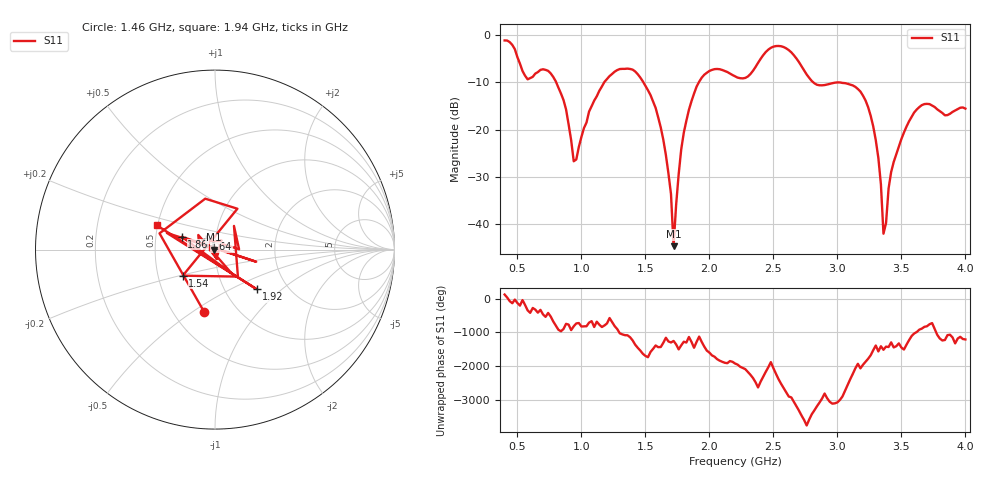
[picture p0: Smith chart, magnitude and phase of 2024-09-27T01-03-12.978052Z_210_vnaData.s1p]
!Created with skrf (http://scikit-rf.org).
# Hz S RI R 50.0
!freq ReS11 ImS11
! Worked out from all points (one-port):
!   181 points, 400 MHz to 4 GHz, reference 50 ohm
!   lowest |S11| = -44.6 dB at 1.72 GHz (marker M1), VSWR 1.01, Z = 49.4 - j0.0715 ohm
!   |S11| at or under -10 dB: 802.5 MHz to 1.179 GHz (376.6 MHz wide, 38 % of centre); 1.483 GHz to 1.918 GHz (434.9 MHz wide, 25.6 % of centre); 2.81 GHz to end of sweep
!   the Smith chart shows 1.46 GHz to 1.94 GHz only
!   S11 on the Smith chart (normalised r, x): 1.46 GHz: 0.70, -0.56; 1.54 GHz: 0.67, -0.21; 1.64 GHz: 0.89, +0.10; 1.86 GHz: 0.68, +0.10; 1.92 GHz: 1.40, -0.69; 1.94 GHz: 0.49, +0.15
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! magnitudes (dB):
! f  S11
! 400 MHz  -1.2
! 580 MHz  -9.4
! 740 MHz  -7.6
! 860 MHz  -13.8
! 940 MHz  -26.7
! 1.1 GHz  -13.9
! 1.3 GHz  -7.2
! 1.46 GHz  -9.0
! 1.54 GHz  -12.7
! 1.64 GHz  -22.2
! 1.7 GHz  -33.6
! 1.72 GHz  -44.6
! 1.76 GHz  -29.4
! 1.86 GHz  -14.0
! 1.92 GHz  -9.9
! 1.94 GHz  -9.1
! 2.2 GHz  -8.8
! 2.5 GHz  -2.5
! 2.66 GHz  -4.3
! 2.84 GHz  -10.6
! 3.1 GHz  -10.5
! 3.28 GHz  -19.3
! 3.34 GHz  -31.6
! 3.36 GHz  -42.0
! 3.42 GHz  -29.0
! 3.56 GHz  -18.3
! 3.68 GHz  -14.6
! 4 GHz  -15.6
